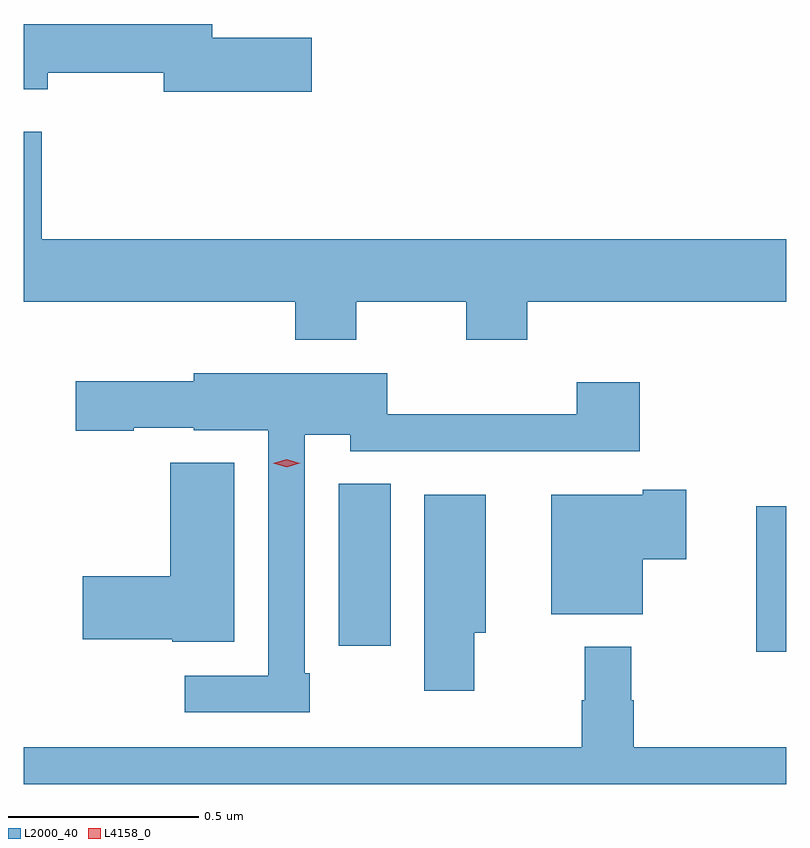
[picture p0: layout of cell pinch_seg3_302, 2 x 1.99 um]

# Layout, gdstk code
import gdstk
lib = gdstk.Library(unit=1e-6, precision=1e-09)
def R(c, l, rs):  # rectangles x0, y0, x1, y1
    for r in rs: c.add(gdstk.rectangle(r[:2], r[2:], *l))
def P(c, l, *ps):  # polygons
    for p in ps: c.add(gdstk.Polygon(p, *l))
L2000_40 = (2000, 40)
L4158_0 = (4158, 0)

pinch_seg3_302 = lib.new_cell('pinch_seg3_302')
R(pinch_seg3_302, L2000_40, [(991.184,719.979,991.263,720.36), (990.089,719.994,990.226,720.419)])
P(pinch_seg3_302, L2000_40, [(990.019,721.589),(989.758,721.589),(989.758,721.625),(989.263,721.625),(989.263,721.454),(989.326,721.454),(989.326,721.497),(989.63,721.497),(989.63,721.447),(990.019,721.447)],
  [(990.135,720.896),(990.424,720.896),(990.424,720.797),(990.584,720.797),(990.584,720.896),(991.263,720.896),(991.263,721.06),(989.311,721.06),(989.311,721.342),(989.263,721.342),(989.263,720.896),(989.975,720.896),(989.975,720.797),(990.135,720.797)],
  [(990.013,719.923),(990,719.923),(990,720.548),(990.12,720.548),(990.12,720.504),(990.878,720.504),(990.878,720.685),(990.713,720.685),(990.713,720.602),(990.216,720.602),(990.216,720.709),(989.709,720.709),(989.709,720.688),(989.4,720.688),(989.4,720.559),(989.552,720.559),(989.552,720.566),(989.709,720.566),(989.709,720.56),(989.904,720.56),(989.904,719.916),(989.685,719.916),(989.685,719.82),(990.013,719.82)],
  [(989.815,720.475),(989.648,720.475),(989.648,720.177),(989.418,720.177),(989.418,720.011),(989.652,720.011),(989.652,720.005),(989.815,720.005)],
  [(990.886,720.221),(991,720.221),(991,720.404),(990.887,720.404),(990.887,720.391),(990.647,720.391),(990.647,720.077),(990.886,720.077)],
  [(990.444,720.029),(990.475,720.029),(990.475,720.391),(990.314,720.391),(990.314,719.877),(990.444,719.877)],
  [(991.263,719.728),(990.863,719.728),(990.863,719.852),(990.856,719.852),(990.856,719.992),(990.735,719.992),(990.735,719.852),(990.727,719.852),(990.727,719.728),(989.263,719.728),(989.263,719.632),(991.263,719.632)])
P(pinch_seg3_302, L4158_0, [(989.953,720.463),(989.918,720.473),(989.917,720.473),(989.918,720.473),(989.953,720.483),(989.987,720.473),(989.988,720.473),(989.987,720.473)])

lib.write_gds('pinch_seg3_302.gds')
